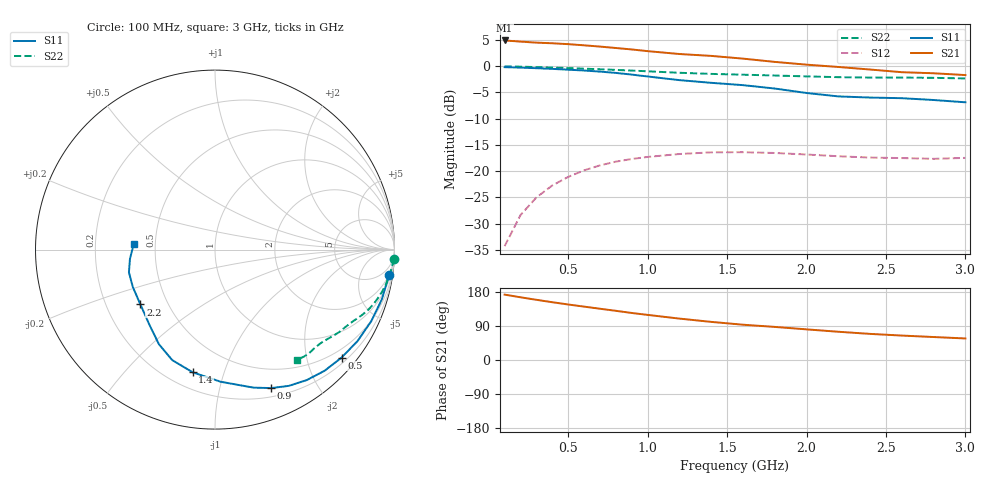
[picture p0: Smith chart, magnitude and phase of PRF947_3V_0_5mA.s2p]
! Filename:  PRF947A.S2P  Version:  3.0
! Philips part #:  PRF947  Date:  Nov 1998
! Bias condition:  Vce=3V, Ic=0.5mA
#  MHz  S  MA  R 50
! Freq  S11  S21  S12  S22
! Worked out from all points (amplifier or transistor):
!   20 points, 100 MHz to 3 GHz, reference 50 ohm
!   highest |S21| = 4.9 dB at 100 MHz (marker M1)
!   |S21| within 3 dB of that: start of sweep to 1.423 GHz
!   unconditionally stable (mu >= 1): 2.58 GHz to end of sweep
!   at 400 MHz: K = 0.13, MSG = 13.6 dB, |S12| = -22.7 dB
!   at 1.2 GHz: K = 0.40, MSG = 9.5 dB, |S12| = -16.7 dB
!   at 3 GHz: K = 1.20, MAG = 5.2 dB, |S12| = -17.5 dB
!   S11 on the Smith chart (normalised r, x): 100 MHz: 2, -13; 500 MHz: 0.31, -2.68; 900 MHz: 0.29, -1.44; 1.4 GHz: 0.30, -0.79; 2.2 GHz: 0.35, -0.29; 3 GHz: 0.38, +0.03
100  0.9799 -8.3  1.76 172.5  0.0193 84.3  0.9972 -3.0
200  0.9702 -16.5  1.717 165.5  0.03817 79.7  0.9899 -5.9
300  0.9575 -24.6  1.678 158.9  0.05618 75.1  0.9817 -8.7
400  0.9435 -32.7  1.655 152.5  0.07305 70.8  0.9718 -11.5
500  0.9269 -40.5  1.623 146.5  0.08822 66.9  0.9604 -14.1
600  0.9102 -47.9  1.582 140.8  0.1018 63.2  0.9477 -16.5
700  0.8888 -54.9  1.539 135.3  0.1136 59.7  0.9357 -18.7
800  0.8637 -61.5  1.491 129.8  0.1232 56.4  0.9227 -20.6
900  0.8323 -68.0  1.445 124.1  0.1307 53.2  0.9088 -22.5
1000  0.7987 -74.4  1.392 119.0  0.1367 50.5  0.8945 -24.2
1200  0.7371 -87.5  1.307 109.2  0.1458 45.5  0.8662 -27.5
1400  0.6949 -100.3  1.255 100.6  0.1512 41.5  0.8449 -30.7
1600  0.6604 -111.1  1.181 93.1  0.1516 39.3  0.8306 -33.6
1800  0.6131 -120.6  1.1 87.3  0.1491 38.7  0.8157 -36.1
2000  0.5558 -131.1  1.035 80.9  0.1442 38.6  0.8001 -38.5
2200  0.5159 -143.7  0.9838 74.5  0.1388 39.8  0.7865 -41.5
2400  0.5029 -155.7  0.9302 68.9  0.1348 42.9  0.7801 -44.8
2600  0.496 -165.2  0.8772 64.5  0.1333 48.0  0.7797 -47.7
2800  0.4766 -173.8  0.8568 60.6  0.1312 54.1  0.7749 -50.4
3000  0.4533 175.8  0.8237 56.8  0.1339 61.2  0.7651 -53.3
